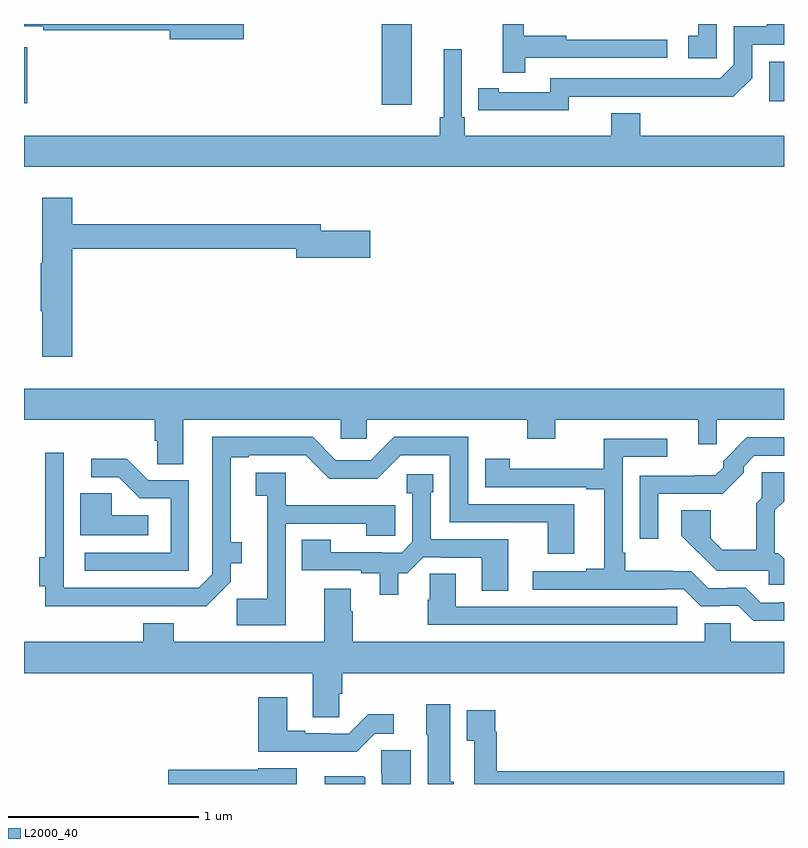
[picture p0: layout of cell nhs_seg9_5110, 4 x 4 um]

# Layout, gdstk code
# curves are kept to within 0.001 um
import gdstk
lib = gdstk.Library(unit=1e-6, precision=1e-09)
def R(c, l, rs):  # rectangles x0, y0, x1, y1
    for r in rs: c.add(gdstk.rectangle(r[:2], r[2:], *l))
def P(c, l, *ps):  # polygons
    for p in ps: c.add(gdstk.Polygon(p, *l))
L2000_40 = (2000, 40)

nhs_seg9_5110 = lib.new_cell('nhs_seg9_5110')
R(nhs_seg9_5110, L2000_40, [(408.884,1202.076,409.042,1202.5), (407,1202.082,407.018,1202.377), (410.922,1202.094,411,1202.301)])
P(nhs_seg9_5110, L2000_40, [(408.157,1202.5),(407,1202.5),(407,1202.487),(407.101,1202.487),(407.101,1202.467),(407.768,1202.467),(407.768,1202.42),(408.157,1202.42)],
  [(410.646,1202.5),(410.549,1202.5),(410.549,1202.439),(410.496,1202.439),(410.496,1202.319),(410.646,1202.319)],
  [(409.866,1202.118),(410.734,1202.117),(410.832,1202.214),(410.832,1202.391),(411,1202.391),(411,1202.5),(410.909,1202.5),(410.909,1202.487),(410.736,1202.487),(410.736,1202.286),(410.664,1202.214),(409.77,1202.214),(409.77,1202.142),(409.498,1202.142),(409.498,1202.162),(409.39,1202.162),(409.39,1202.046),(409.866,1202.045)],
  [(409.637,1202.322),(410.386,1202.322),(410.386,1202.418),(409.853,1202.418),(409.853,1202.438),(409.63,1202.438),(409.63,1202.5),(409.52,1202.5),(409.52,1202.244),(409.637,1202.244)],
  [(411,1201.912),(410.243,1201.912),(410.243,1202.029),(410.09,1202.029),(410.09,1201.912),(409.319,1201.912),(409.319,1202.008),(409.305,1202.008),(409.305,1202.368),(409.208,1202.368),(409.208,1202.008),(409.189,1202.008),(409.189,1201.912),(407,1201.912),(407,1201.748),(411,1201.748)],
  [(407.255,1201.318),(408.434,1201.318),(408.434,1201.271),(408.823,1201.271),(408.823,1201.413),(408.562,1201.413),(408.562,1201.447),(407.255,1201.447),(407.255,1201.585),(407.096,1201.585),(407.096,1201.241),(407.089,1201.241),(407.089,1200.988),(407.096,1200.988),(407.096,1200.75),(407.255,1200.75)],
  [(407.839,1200.416),(408.666,1200.416),(408.666,1200.318),(408.804,1200.318),(408.804,1200.416),(409.648,1200.416),(409.648,1200.317),(409.795,1200.317),(409.795,1200.416),(410.549,1200.416),(410.549,1200.287),(410.645,1200.287),(410.645,1200.416),(411,1200.416),(411,1200.58),(407,1200.58),(407,1200.416),(407.687,1200.416),(407.687,1200.307),(407.7,1200.307),(407.7,1200.184),(407.839,1200.184)],
  [(407.543,1199.436),(407.959,1199.435),(408.089,1199.564),(408.089,1199.663),(408.145,1199.663),(408.145,1199.773),(408.088,1199.773),(408.088,1200.219),(408.184,1200.219),(408.184,1200.231),(408.482,1200.231),(408.606,1200.107),(408.86,1200.107),(408.984,1200.231),(409.242,1200.231),(409.242,1199.877),(409.757,1199.877),(409.757,1199.712),(409.897,1199.712),(409.897,1199.973),(409.338,1199.973),(409.338,1200.327),(408.948,1200.327),(408.825,1200.204),(408.642,1200.204),(408.519,1200.327),(407.991,1200.327),(407.991,1199.604),(407.919,1199.532),(407.208,1199.532),(407.208,1200.244),(407.112,1200.244),(407.112,1199.693),(407.081,1199.693),(407.081,1199.54),(407.112,1199.54),(407.112,1199.435)],
  [(410.337,1200.027),(410.677,1200.027),(410.787,1200.137),(410.787,1200.171),(410.844,1200.228),(411,1200.228),(411,1200.324),(410.804,1200.324),(410.679,1200.199),(410.679,1200.165),(410.638,1200.124),(410.241,1200.123),(410.241,1199.79),(410.337,1199.79)],
  [(411,1199.457),(410.977,1199.457),(410.977,1199.454),(410.877,1199.454),(410.799,1199.532),(410.702,1199.532),(410.702,1199.529),(410.601,1199.529),(410.511,1199.619),(410.414,1199.619),(410.414,1199.623),(410.164,1199.623),(410.164,1199.716),(410.151,1199.716),(410.151,1200.222),(410.386,1200.222),(410.386,1200.318),(410.05,1200.318),(410.05,1200.16),(409.556,1200.16),(409.556,1200.211),(409.428,1200.211),(409.428,1200.063),(409.958,1200.063),(409.958,1200.051),(410.054,1200.051),(410.054,1199.632),(409.958,1199.632),(409.958,1199.619),(409.677,1199.619),(409.677,1199.523),(410.372,1199.523),(410.372,1199.526),(410.472,1199.526),(410.562,1199.436),(410.66,1199.436),(410.66,1199.439),(410.76,1199.439),(410.839,1199.36),(411,1199.36)],
  [(407.868,1200.099),(407.655,1200.099),(407.542,1200.212),(407.355,1200.212),(407.355,1200.114),(407.499,1200.114),(407.61,1200.003),(407.772,1200.003),(407.772,1199.718),(407.319,1199.718),(407.319,1199.622),(407.868,1199.622)],
  [(411,1199.685),(410.97,1199.715),(410.952,1199.715),(410.952,1199.94),(411,1199.988),(411,1200.142),(410.883,1200.142),(410.883,1200.007),(410.854,1199.978),(410.854,1199.733),(410.675,1199.733),(410.614,1199.794),(410.614,1199.942),(410.46,1199.942),(410.46,1199.806),(410.645,1199.622),(410.919,1199.622),(410.919,1199.55),(411,1199.55)],
  [(408.378,1199.871),(408.802,1199.871),(408.802,1199.806),(408.955,1199.806),(408.955,1199.967),(408.845,1199.967),(408.845,1199.968),(408.378,1199.968),(408.378,1200.139),(408.219,1200.139),(408.219,1200.018),(408.281,1200.018),(408.281,1199.475),(408.12,1199.475),(408.12,1199.336),(408.378,1199.336)],
  [(408.97,1199.61),(409.017,1199.61),(409.101,1199.694),(409.195,1199.694),(409.195,1199.691),(409.409,1199.691),(409.409,1199.518),(409.549,1199.518),(409.549,1199.787),(409.14,1199.787),(409.14,1200.036),(409.153,1200.036),(409.153,1200.129),(409.014,1200.129),(409.014,1200.031),(409.044,1200.031),(409.044,1199.775),(408.987,1199.718),(408.887,1199.718),(408.887,1199.721),(408.615,1199.721),(408.615,1199.786),(408.463,1199.786),(408.463,1199.625),(408.776,1199.625),(408.776,1199.61),(408.872,1199.61),(408.872,1199.496),(408.97,1199.496)],
  [(407.653,1199.914),(407.461,1199.914),(407.461,1200.029),(407.297,1200.029),(407.297,1199.81),(407.653,1199.81)],
  [(410.437,1199.433),(409.273,1199.433),(409.273,1199.606),(409.135,1199.606),(409.135,1199.469),(409.126,1199.469),(409.126,1199.337),(410.437,1199.337)],
  [(408.66,1198.974),(408.674,1198.974),(408.674,1199.084),(411,1199.084),(411,1199.248),(410.721,1199.248),(410.721,1199.346),(410.582,1199.346),(410.582,1199.248),(408.729,1199.248),(408.729,1199.408),(408.721,1199.408),(408.721,1199.527),(408.581,1199.527),(408.581,1199.248),(407.787,1199.248),(407.787,1199.347),(407.627,1199.347),(407.627,1199.248),(407,1199.248),(407,1199.084),(408.521,1199.084),(408.521,1198.852),(408.66,1198.852)],
  [(408.846,1198.764),(408.946,1198.764),(408.946,1198.867),(408.811,1198.867),(408.708,1198.764),(408.608,1198.764),(408.608,1198.767),(408.481,1198.767),(408.481,1198.78),(408.385,1198.78),(408.385,1198.957),(408.233,1198.957),(408.233,1198.67),(408.751,1198.67)],
  [(409.261,1198.512),(409.243,1198.512),(409.243,1198.921),(409.118,1198.921),(409.118,1198.758),(409.124,1198.758),(409.124,1198.5),(409.261,1198.5)],
  [(411,1198.568),(409.487,1198.568),(409.487,1198.775),(409.48,1198.775),(409.48,1198.888),(409.331,1198.888),(409.331,1198.727),(409.371,1198.727),(409.371,1198.5),(411,1198.5)],
  [(409.036,1198.677),(408.88,1198.677),(408.88,1198.554),(408.884,1198.554),(408.884,1198.5),(409.036,1198.5)],
  [(408.436,1198.582),(408.234,1198.582),(408.234,1198.574),(407.76,1198.574),(407.76,1198.5),(408.436,1198.5)],
  [(408.796,1198.532),(408.788,1198.54),(408.584,1198.54),(408.584,1198.5),(408.796,1198.5)])

lib.write_gds('nhs_seg9_5110.gds')
